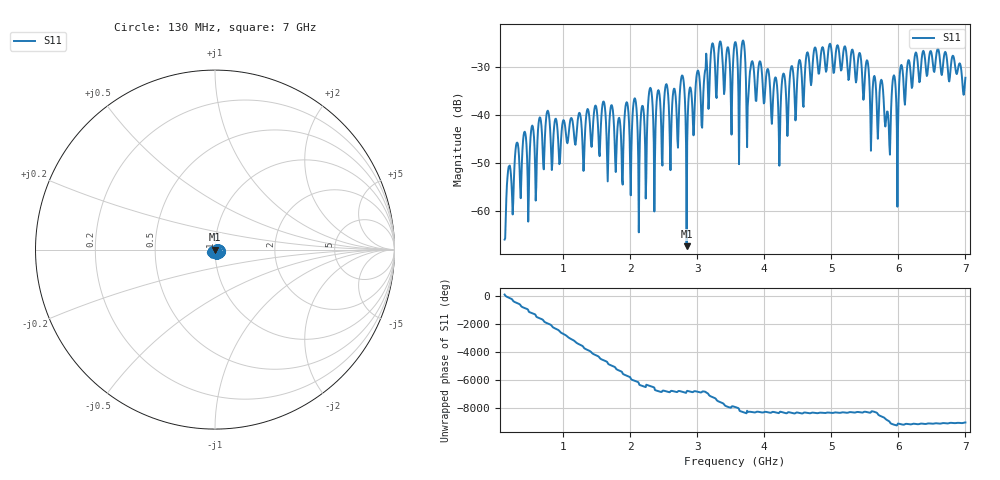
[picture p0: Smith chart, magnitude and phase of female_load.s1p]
# Hz S RI R 50.000000
! Metas.Vna.Tools, 2.8.8664.20301
! Metas.Vna.Data, 2.8.8664.20285
! Created: UTC 2024.02.09 20:23:25
! FREQ  re:S2,2  im:S2,2
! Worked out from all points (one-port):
!   801 points, 130 MHz to 7 GHz, reference 50 ohm
!   lowest |S11| = -67.3 dB at 2.844 GHz (marker M1), VSWR 1.00, Z = 50 + j0.0031 ohm
!   |S11| at or under -10 dB: start of sweep to end of sweep
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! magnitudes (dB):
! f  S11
! 130 MHz  -65.9
! 190.1 MHz  -50.8
! 310.3 MHz  -45.8
! 988.8 MHz  -42.2
! 1.847 GHz  -41.1
! 2.071 GHz  -36.6
! 2.122 GHz  -49.2
! 2.234 GHz  -57.4
! 2.303 GHz  -34.4
! 2.363 GHz  -60.1
! 2.543 GHz  -33.6
! 2.706 GHz  -45.1
! 2.784 GHz  -31.9
! 2.844 GHz  -67.3
! 3.23 GHz  -25.2
! 3.513 GHz  -44.1
! 3.565 GHz  -25.0
! 3.625 GHz  -50.3
! 3.685 GHz  -24.6
! 3.754 GHz  -38.3
! 3.934 GHz  -28.9
! 4.226 GHz  -50.6
! 4.424 GHz  -30.3
! 5.282 GHz  -29.2
! 5.755 GHz  -32.9
! 5.849 GHz  -40.3
! 6.141 GHz  -29.1
! 7 GHz  -32.3
